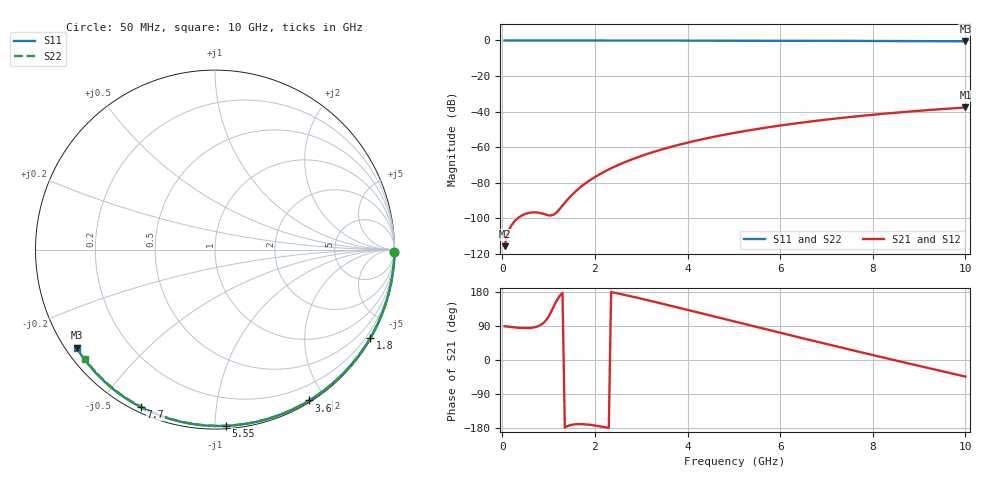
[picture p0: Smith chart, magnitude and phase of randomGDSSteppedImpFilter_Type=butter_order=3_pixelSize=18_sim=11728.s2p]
! freq	dB(S11)	phase(S11)	dB(S12)	phase(S12)
!  dB(S21)	phase(S21)	dB(S22)	phase(S22)
!S-par simulation data
#  GHz  S  DB  R 50
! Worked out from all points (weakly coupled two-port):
!   200 points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, 50 MHz to 10 GHz, reference 50 ohm
!   highest |S21| = -37.71 dB at 10 GHz (marker M1); lowest = -115.7 dB at 50 MHz (marker M2)
!   lowest |S11| = -0.5 dB at 10 GHz (marker M3), VSWR 35.70, Z = 1.54 - j15.9 ohm
!   |S11| at or under -10 dB: nowhere
!   |S22| runs from -0.5 to 0.0 dB; largest |S21 - S12| = 0
!   S11 on the Smith chart (normalised r, x): 50 MHz: open; 1.8 GHz: 0.03, -3.77; 3.6 GHz: 0.02, -1.80; 5.55 GHz: 0.02, -1.06; 7.7 GHz: 0.02, -0.63; 10 GHz: 0.03, -0.32
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0.05  -0.00 -0.8  -115.70 89.2  -115.70 89.2  -0.00 -0.8
0.45  -0.01 -7.6  -98.08 84.3  -98.08 84.3  -0.01 -7.3
0.9  -0.02 -15.0  -97.64 99.0  -97.64 99.0  -0.02 -14.4
1.3  -0.03 -21.6  -92.86 177.2  -92.86 177.2  -0.03 -20.8
1.75  -0.04 -28.9  -81.27 -169.5  -81.27 -169.5  -0.04 -27.8
1.8  -0.04 -29.7  -80.30 -170.0  -80.30 -170.0  -0.04 -28.6
1.85  -0.04 -30.5  -79.37 -170.5  -79.37 -170.5  -0.04 -29.4
2  -0.04 -33.0  -76.83 -172.9  -76.83 -172.9  -0.04 -31.7
2.15  -0.05 -35.4  -74.58 -175.9  -74.58 -175.9  -0.04 -34.0
2.5  -0.05 -40.9  -70.09 175.6  -70.09 175.6  -0.05 -39.4
2.9  -0.06 -47.2  -65.91 164.7  -65.91 164.7  -0.06 -45.5
3.4  -0.07 -55.0  -61.64 150.2  -61.64 150.2  -0.07 -52.9
3.6  -0.08 -58.0  -60.16 144.2  -60.16 144.2  -0.08 -55.9
4.3  -0.10 -68.5  -55.67 123.2  -55.67 123.2  -0.09 -66.0
5.05  -0.12 -79.3  -51.80 100.5  -51.80 100.5  -0.12 -76.5
5.55  -0.14 -86.4  -49.61 85.4  -49.61 85.4  -0.14 -83.3
6.1  -0.17 -94.0  -47.48 68.9  -47.48 68.9  -0.16 -90.7
6.7  -0.20 -102.1  -45.44 51.1  -45.44 51.1  -0.19 -98.6
7.7  -0.26 -115.3  -42.55 21.7  -42.55 21.7  -0.25 -111.3
8.35  -0.32 -123.6  -40.96 3.0  -40.96 3.0  -0.31 -119.4
9.2  -0.40 -134.5  -39.15 -21.3  -39.15 -21.3  -0.38 -129.9
10  -0.49 -144.7  -37.71 -43.8  -37.71 -43.8  -0.47 -139.8
